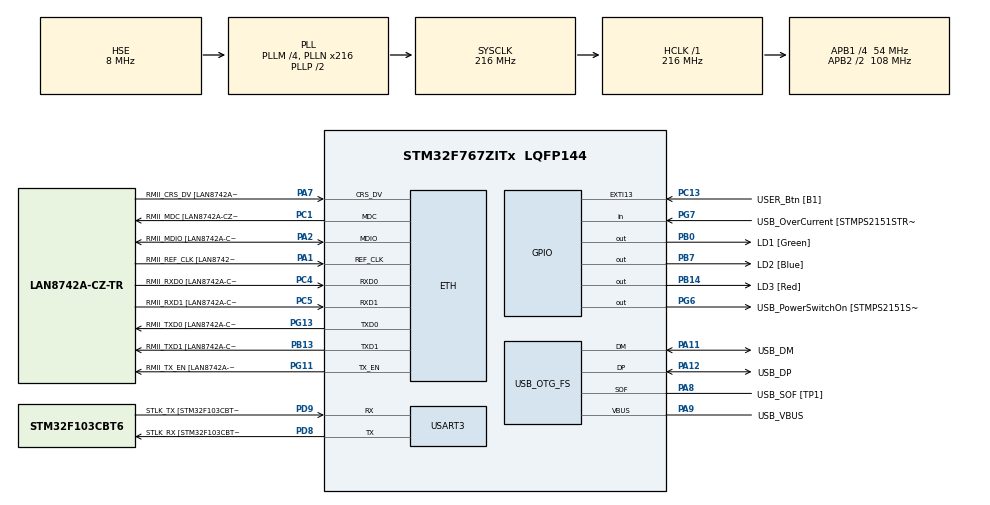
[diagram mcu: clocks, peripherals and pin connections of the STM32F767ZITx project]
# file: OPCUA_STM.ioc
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ETH.MediaInterface=HAL_ETH_RMII_MODE
ETH.PHY_Name=LAN8742A_PHY_ADDRESS
ETH.PHY_Value=0
ETH.PhyAddress=0
FREERTOS.Tasks01=defaultTask,24,128,StartDefaultTask,Default,NULL,Dynamic,NULL,NULL
FREERTOS.configTOTAL_HEAP_SIZE=300000
FREERTOS.configUSE_NEWLIB_REENTRANT=1
LWIP.BSP.number=1
LWIP.LWIP_COMPAT_SOCKETS=0
LWIP.LWIP_DNS=1
LWIP.MEM_SIZE=16*1024
LWIP.SO_REUSE=1
LWIP.Version=v2.1.2_Cube
LWIP0.BSP.STBoard=false
LWIP0.BSP.api=BSP_COMPONENT_DRIVER
LWIP0.BSP.component=LAN8742
LWIP0.BSP.instance=LAN8742
LWIP0.BSP.name=Driver_PHY
LWIP0.BSP.semaphore=S_LAN8742
LWIP0.BSP.solution=LAN8742
Mcu.Family=STM32F7
Mcu.Name=STM32F767ZITx
Mcu.Package=LQFP144
Mcu.UserConstants=LWIP_COMPAT_SOCKETS,2
NVIC.ETH_IRQn=true\:5\:0\:false\:false\:true\:true\:false\:true\:true
NVIC.PriorityGroup=NVIC_PRIORITYGROUP_4
NVIC.TIM6_DAC_IRQn=true\:15\:0\:false\:false\:true\:false\:false\:true\:true
NVIC.TimeBase=TIM6_DAC_IRQn
NVIC.TimeBaseIP=TIM6
PA1.GPIO_Label=RMII_REF_CLK [LAN8742A-CZ-TR_REFCLK0]
PA1.Mode=RMII
PA1.Signal=ETH_REF_CLK
PA10.GPIO_Label=USB_ID
PA10.Signal=USB_OTG_FS_ID
PA11.GPIO_Label=USB_DM
PA11.Mode=Device_Only
PA11.Signal=USB_OTG_FS_DM
PA12.GPIO_Label=USB_DP
PA12.Mode=Device_Only
PA12.Signal=USB_OTG_FS_DP
PA13.GPIO_Label=TMS
PA13.Mode=Serial_Wire
PA13.Signal=SYS_JTMS-SWDIO
PA14.GPIO_Label=TCK
PA14.Mode=Serial_Wire
PA14.Signal=SYS_JTCK-SWCLK
PA2.GPIO_Label=RMII_MDIO [LAN8742A-CZ-TR_MDIO]
PA2.Mode=RMII
PA2.Signal=ETH_MDIO
PA7.GPIO_Label=RMII_CRS_DV [LAN8742A-CZ-TR_CRS_DV]
PA7.Mode=RMII
PA7.Signal=ETH_CRS_DV
PA8.GPIO_Label=USB_SOF [TP1]
PA8.Mode=Activate_SOF_FS
PA8.Signal=USB_OTG_FS_SOF
PA9.GPIO_Label=USB_VBUS
PA9.Mode=Activate_VBUS
PA9.Signal=USB_OTG_FS_VBUS
PB0.GPIO_Label=LD1 [Green]
PB0.Signal=GPIO_Output
PB13.GPIO_Label=RMII_TXD1 [LAN8742A-CZ-TR_TXD1]
PB13.Mode=RMII
PB13.Signal=ETH_TXD1
PB14.GPIO_Label=LD3 [Red]
PB14.Signal=GPIO_Output
PB3.GPIO_Label=SWO
PB3.Signal=SYS_JTDO-SWO
PB7.GPIO_Label=LD2 [Blue]
PB7.Signal=GPIO_Output
PC1.GPIO_Label=RMII_MDC [LAN8742A-CZ-TR_MDC]
PC1.Mode=RMII
PC1.Signal=ETH_MDC
PC13.GPIO_Label=USER_Btn [B1]
PC13.Signal=GPXTI13
PC14/OSC32_IN.Mode=LSE-External-Oscillator
PC14/OSC32_IN.Signal=RCC_OSC32_IN
PC15/OSC32_OUT.Mode=LSE-External-Oscillator
PC15/OSC32_OUT.Signal=RCC_OSC32_OUT
PC4.GPIO_Label=RMII_RXD0 [LAN8742A-CZ-TR_RXD0]
PC4.Mode=RMII
PC4.Signal=ETH_RXD0
PC5.GPIO_Label=RMII_RXD1 [LAN8742A-CZ-TR_RXD1]
PC5.Mode=RMII
PC5.Signal=ETH_RXD1
PD8.GPIO_Label=STLK_RX [STM32F103CBT6_PA3]
PD8.Mode=Asynchronous
PD8.Signal=USART3_TX
PD9.GPIO_Label=STLK_TX [STM32F103CBT6_PA2]
PD9.Mode=Asynchronous
PD9.Signal=USART3_RX
PG11.GPIO_Label=RMII_TX_EN [LAN8742A-CZ-TR_TXEN]
PG11.Mode=RMII
PG11.Signal=ETH_TX_EN
PG13.GPIO_Label=RMII_TXD0 [LAN8742A-CZ-TR_TXD0]
PG13.Mode=RMII
PG13.Signal=ETH_TXD0
PG6.GPIO_Label=USB_PowerSwitchOn [STMPS2151STR_EN]
PG6.Signal=GPIO_Output
PG7.GPIO_Label=USB_OverCurrent [STMPS2151STR_FAULT]
PG7.Signal=GPIO_Input
PH0/OSC_IN.GPIO_Label=MCO [STM32F103CBT6_PA8]
PH0/OSC_IN.Mode=HSE-External-Clock-Source
PH0/OSC_IN.Signal=RCC_OSC_IN
PH1/OSC_OUT.Mode=HSE-External-Clock-Source
PH1/OSC_OUT.Signal=RCC_OSC_OUT
ProjectManager.HeapSize=0x600
ProjectManager.StackSize=0x600
ProjectManager.TargetToolchain=STM32CubeIDE
RCC.48MHZClocksFreq_Value=24000000
RCC.AHBFreq_Value=216000000
RCC.APB1CLKDivider=RCC_HCLK_DIV4
RCC.APB1Freq_Value=54000000
RCC.APB1TimFreq_Value=108000000
RCC.APB2CLKDivider=RCC_HCLK_DIV2
RCC.APB2Freq_Value=108000000
RCC.APB2TimFreq_Value=216000000
RCC.CortexFreq_Value=216000000
RCC.HCLKFreq_Value=216000000
RCC.HSE_VALUE=8000000
RCC.HSI_VALUE=16000000
RCC.PLLM=4
RCC.PLLMUL=RCC_PLL_MUL9
RCC.PLLN=216
RCC.PLLQ=9
RCC.PRESCALERUSB=RCC_USBCLKSOURCE_PLL_DIV1_5
RCC.SYSCLKFreq_VALUE=216000000
RCC.SYSCLKSource=RCC_SYSCLKSOURCE_PLLCLK
RCC.SYSCLKSourceVirtual=RCC_SYSCLKSOURCE_PLLCLK
RCC.USBFreq_Value=48000000
RCC.VCOOutputFreq_Value=432000000
USART3.VirtualMode-Asynchronous=VM_ASYNC
USB_OTG_FS.VirtualMode=Device_Only
VP_FREERTOS_VS_CMSIS_V2.Mode=CMSIS_V2
VP_LWIP_VS_Enabled.Mode=Enabled
VP_SYS_VS_tim6.Mode=TIM6
board=NUCLEO-F767ZI

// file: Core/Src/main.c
/* USER CODE BEGIN Header */
/**
  ******************************************************************************
  * @file           : main.c
  * @brief          : Main program body
  ******************************************************************************
  * @attention
  *
  * Copyright (c) 2024 STMicroelectronics.
  * All rights reserved.
  *
  * This software is licensed under terms that can be found in the LICENSE file
  * in the root directory of this software component.
  * If no LICENSE file comes with this software, it is provided AS-IS.
  *
  ******************************************************************************
  */
/* USER CODE END Header */
#include "main.h"
#include "cmsis_os.h"
#include "lwip.h"
#include "usart.h"
#include "usb_otg.h"
#include "gpio.h"

/* USER CODE BEGIN PV */
int __io_putchar(int ch)
{
    HAL_UART_Transmit(&huart3, (uint8_t*) &ch, 1, HAL_MAX_DELAY);
    return 0;
}
/* USER CODE END PV */

void SystemClock_Config(void);

void MX_FREERTOS_Init(void);

int main(void)
{

    /* MCU Configuration--------------------------------------------------------*/

    /* Reset of all peripherals, Initializes the Flash interface and the Systick. */
    HAL_Init();

    /* Configure the system clock */
    SystemClock_Config();

    /* Initialize all configured peripherals */
    MX_GPIO_Init();
    MX_USART3_UART_Init();
    MX_USB_OTG_FS_PCD_Init();
    /* USER CODE BEGIN 2 */
    printf("System started...\n");
    /* USER CODE END 2 */

    /* Init scheduler */
    osKernelInitialize();

    /* Call init function for freertos objects (in freertos.c) */
    MX_FREERTOS_Init();

    /* Start scheduler */
    osKernelStart();

    /* We should never get here as control is now taken by the scheduler */
    /* Infinite loop */
    while (1) {

    }
}

void SystemClock_Config(void)
{
    RCC_OscInitTypeDef RCC_OscInitStruct = {0};
    RCC_ClkInitTypeDef RCC_ClkInitStruct = {0};

    /** Configure LSE Drive Capability
    */
    HAL_PWR_EnableBkUpAccess();

    /** Configure the main internal regulator output voltage
    */
    __HAL_RCC_PWR_CLK_ENABLE();
    __HAL_PWR_VOLTAGESCALING_CONFIG(PWR_REGULATOR_VOLTAGE_SCALE1);

    /** Initializes the RCC Oscillators according to the specified parameters
    * in the RCC_OscInitTypeDef structure.
    */
    RCC_OscInitStruct.OscillatorType = RCC_OSCILLATORTYPE_HSE;
    RCC_OscInitStruct.HSEState = RCC_HSE_BYPASS;
    RCC_OscInitStruct.PLL.PLLState = RCC_PLL_ON;
    RCC_OscInitStruct.PLL.PLLSource = RCC_PLLSOURCE_HSE;
    RCC_OscInitStruct.PLL.PLLM = 4;
    RCC_OscInitStruct.PLL.PLLN = 216;
    RCC_OscInitStruct.PLL.PLLP = RCC_PLLP_DIV2;
    RCC_OscInitStruct.PLL.PLLQ = 9;
    RCC_OscInitStruct.PLL.PLLR = 2;
    if (HAL_RCC_OscConfig(&RCC_OscInitStruct) != HAL_OK) {
        Error_Handler();
    }

    /** Activate the Over-Drive mode
    */
    if (HAL_PWREx_EnableOverDrive() != HAL_OK) {
        Error_Handler();
    }

    /** Initializes the CPU, AHB and APB buses clocks
    */
    RCC_ClkInitStruct.ClockType = RCC_CLOCKTYPE_HCLK | RCC_CLOCKTYPE_SYSCLK
                                  | RCC_CLOCKTYPE_PCLK1 | RCC_CLOCKTYPE_PCLK2;
    RCC_ClkInitStruct.SYSCLKSource = RCC_SYSCLKSOURCE_PLLCLK;
    RCC_ClkInitStruct.AHBCLKDivider = RCC_SYSCLK_DIV1;
    RCC_ClkInitStruct.APB1CLKDivider = RCC_HCLK_DIV4;
    RCC_ClkInitStruct.APB2CLKDivider = RCC_HCLK_DIV2;

    if (HAL_RCC_ClockConfig(&RCC_ClkInitStruct, FLASH_LATENCY_7) != HAL_OK) {
        Error_Handler();
    }
}

void HAL_TIM_PeriodElapsedCallback(TIM_HandleTypeDef *htim)
{
    if (htim->Instance == TIM6) {
        HAL_IncTick();
    }
}

void Error_Handler(void)
{
    __disable_irq();
    while (1) {
    }
}

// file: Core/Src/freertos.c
/* USER CODE BEGIN Header */
/**
  ******************************************************************************
  * File Name          : freertos.c
  * Description        : Code for freertos applications
  ******************************************************************************
  * @attention
  *
  * Copyright (c) 2024 STMicroelectronics.
  * All rights reserved.
  *
  * This software is licensed under terms that can be found in the LICENSE file
  * in the root directory of this software component.
  * If no LICENSE file comes with this software, it is provided AS-IS.
  *
  ******************************************************************************
  */
/* USER CODE END Header */

#include "FreeRTOS.h"
#include "task.h"
#include "main.h"
#include "cmsis_os.h"
#include "open62541.h"

/* USER CODE BEGIN Includes */
#include "si7021.h"
#include "tca9548.h"

#define SAMPLING_TIME 	1000
#define SI7021_NUMBER	2
#define SENSORS_NUMBER	4

typedef struct
{
    uint32_t sensorId;
    float sensorData;
    float (*readFunc)(si7021_st* sensor);
    si7021_st* sensorPtr;
}sensor_data_st;

void initSensorData(sensor_data_st* sensorData, uint32_t id, float (*readFunc)(si7021_st*), si7021_st* sensorPtr)
{
    sensorData->sensorId = id;
    sensorData->readFunc = readFunc;
    sensorData->sensorPtr = sensorInstance;
}

float readSensorData(sensor_data_st* sensorData)
{
    return sensorData->readFunc(sensorData->sensorPtr);
}

/* USER CODE END Includes */

/* Definitions for defaultTask */
osThreadId_t defaultTaskHandle;
const osThreadAttr_t defaultTask_attributes = {
        .name = "defaultTask",
        .stack_size = 8196 * 4,
        .priority = (osPriority_t) osPriorityNormal,
};

void StartDefaultTask(void *argument);

extern void MX_LWIP_Init(void);

void MX_FREERTOS_Init(void); /* (MISRA C 2004 rule 8.1) */

void MX_FREERTOS_Init(void)
{

    /* Create the thread(s) */
    /* creation of defaultTask */
    defaultTaskHandle = osThreadNew(StartDefaultTask, NULL, &defaultTask_attributes);

}

void StartDefaultTask(void *argument)
{
    /* init code for LWIP */
    MX_LWIP_Init();

    osDelay(3000);

    UA_Client *pClient = UA_Client_new();
    UA_ClientConfig_setDefault(UA_Client_getConfig(pClient));

    UA_StatusCode retCode = UA_Client_connect(pClient, "opc.tcp://rasp.mshome.net:4840");
    if (retCode != UA_STATUSCODE_GOOD)
    {
        UA_Client_delete(pClient);
        return;
    }

    UA_Variant value;
    UA_Variant_init(&value);

    UA_NodeId nodeId = UA_NODEID_STRING(1, "sensor.data");
    retCode = UA_Client_readValueAttribute(pClient, nodeId, &value);
    UA_Int32 retInt;
    retInt = *(UA_Int32 *) value.data;

    si7021_st si7021Sensors[SI7021_NUMBER];
    setChannel(&si7021Sensors[0], 1);
    setChannel(&si7021Sensors[1], 2);

    sensor_data_st systemSensors[SENSORS_NUMBER];

    //bit 16-12   - manufactoring line
    //bit 11-8	  - type (00 tempertaure / 01 humidity)
    //last 8 bits - index
    initSensorData(&systemSensors[0], 0x00000000, readTemperature, &si7021Sensors[0]);
    initSensorData(&systemSensors[1], 0x00000100, readHumidity, &si7021Sensors[0]);
    initSensorData(&systemSensors[2], 0x00000001, readTemperature, &si7021Sensors[1]);
    initSensorData(&systemSensors[3], 0x00000101, readHumidity, &si7021Sensors[1]);

    /* USER CODE BEGIN StartDefaultTask */
    /* Infinite loop */
    for (;;)
    {
    	for(uint8_t i = 0; i < SENSORS_NUMBER; i++)
    	{
    		openChannel(getChannel(systemSensors[i].sensorPtr));
    		systemSensors[i].sensorData = readSensorData(&systemSensors[i]);

        	printf("Writing: %f\n", systemSensors[i].sensorData);

        	UA_Variant_setScalar(&value, &sensorData, &UA_TYPES[UA_TYPES_UINT64]);
        	UA_Client_writeValueAttribute(pClient, nodeId, &value);
    	}

        osDelay(SAMPLING_TIME);
    }
    /* USER CODE END StartDefaultTask */
}
